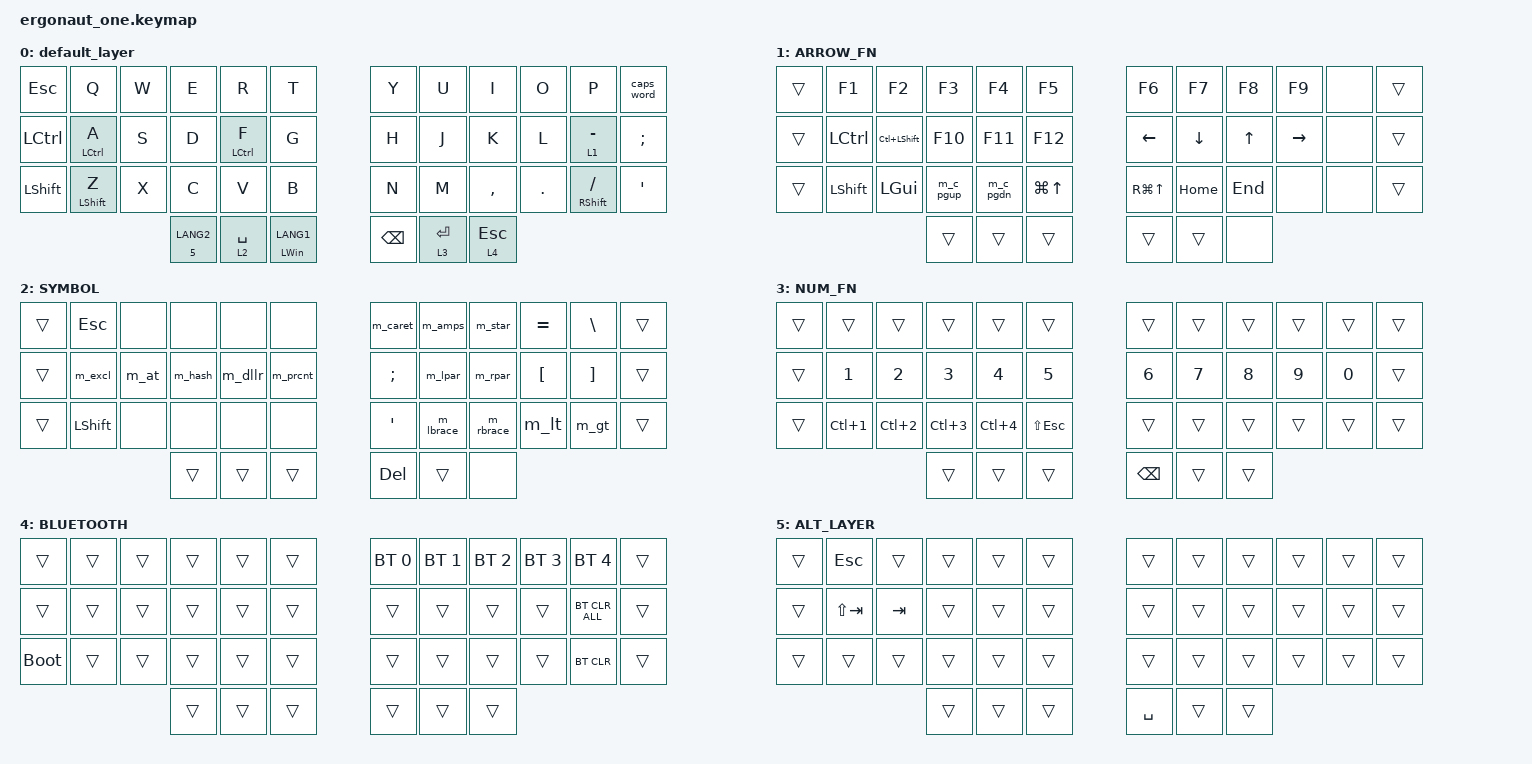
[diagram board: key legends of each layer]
/*
 * Ergonaut One キーマップ設定
 * - zmk-config-roBa からの移植版（トラックボール無し）
 * - roBa の 5 列レイアウトを内側 5 列に配置
 * - 一番外側の列: 左 = ESC / TAB / Win、右 = Caps Word / ; / '
 *   (` はコンボ U+I で出せるため、右上は Caps Word に割り当て)
 * - 最下段（サム）は roBa の外側 3 キー(LCTRL/LALT/LCMD)を除いた 3+3
 * - レイヤー番号は MOUSE/SCROLL を削除して詰めている
 *   0:default 1:ARROW_FN 2:SYMBOL 3:NUM_FN 4:BLUETOOTH 5:ALT_LAYER
 */

#include <behaviors.dtsi>
#include <dt-bindings/zmk/bt.h>
#include <dt-bindings/zmk/keys.h>

&mt {
    flavor = "balanced";
    quick-tap-ms = <0>;
    tapping-term-ms = <180>;
};

/ {
    combos {
        compatible = "zmk,combos";

        tab {
            bindings = <&kp TAB>;
            key-positions = <15 16>;
        };

        eq {
            bindings = <&kp EQUAL>;
            key-positions = <19 20>;
        };

        tilde {
            bindings = <&kp GRAVE>;
            key-positions = <7 8>;
        };

        bq {
            bindings = <&kp BACKSLASH>;
            key-positions = <31 32>;
        };

        layout_shift_on {
            bindings = <&tog_ls_on>;
            key-positions = <10 22>;
        };

        layout_shift_off {
            bindings = <&tog_ls_off>;
            key-positions = <22 34>;
        };

        shift {
            bindings = <&kp RIGHT_SHIFT>;
            key-positions = <27 28>;
        };

        boot {
            bindings = <&bootloader>;
            key-positions = <11 23>;
        };
    };

    macros {
        to_layer_0: to_layer_0 {
            compatible = "zmk,behavior-macro-one-param";
            #binding-cells = <1>;
            bindings = <&to 0 &macro_param_1to1 &kp MACRO_PLACEHOLDER>;
            label = "TO_LAYER_0";
        };

        // Shifted symbols for Remote Desktop compatibility

        m_excl: m_excl {
            compatible = "zmk,behavior-macro";
            #binding-cells = <0>;
            bindings =
                <&macro_press>,
                <&kp LSHFT>,
                <&macro_tap>,
                <&kp N1>,
                <&macro_release>,
                <&kp LSHFT>;
        };

        m_at: m_at {
            compatible = "zmk,behavior-macro";
            #binding-cells = <0>;
            bindings =
                <&macro_press>,
                <&kp LSHFT>,
                <&macro_tap>,
                <&kp N2>,
                <&macro_release>,
                <&kp LSHFT>;
        };

        m_hash: m_hash {
            compatible = "zmk,behavior-macro";
            #binding-cells = <0>;
            bindings =
                <&macro_press>,
                <&kp LSHFT>,
                <&macro_tap>,
                <&kp N3>,
                <&macro_release>,
                <&kp LSHFT>;
        };

        m_dllr: m_dllr {
            compatible = "zmk,behavior-macro";
            #binding-cells = <0>;
            bindings =
                <&macro_press>,
                <&kp LSHFT>,
                <&macro_tap>,
                <&kp N4>,
                <&macro_release>,
                <&kp LSHFT>;
        };

        m_prcnt: m_prcnt {
            compatible = "zmk,behavior-macro";
            #binding-cells = <0>;
            bindings =
                <&macro_press>,
                <&kp LSHFT>,
                <&macro_tap>,
                <&kp N5>,
                <&macro_release>,
                <&kp LSHFT>;
        };

        m_caret: m_caret {
            compatible = "zmk,behavior-macro";
            #binding-cells = <0>;
            bindings =
                <&macro_press>,
                <&kp LSHFT>,
                <&macro_tap>,
                <&kp N6>,
                <&macro_release>,
                <&kp LSHFT>;
        };

        m_amps: m_amps {
            compatible = "zmk,behavior-macro";
            #binding-cells = <0>;
            bindings =
                <&macro_press>,
                <&kp LSHFT>,
                <&macro_tap>,
                <&kp N7>,
                <&macro_release>,
                <&kp LSHFT>;
        };

        m_star: m_star {
            compatible = "zmk,behavior-macro";
            #binding-cells = <0>;
            bindings =
                <&macro_press>,
                <&kp LSHFT>,
                <&macro_tap>,
                <&kp N8>,
                <&macro_release>,
                <&kp LSHFT>;
        };

        m_lpar: m_lpar {
            compatible = "zmk,behavior-macro";
            #binding-cells = <0>;
            bindings =
                <&macro_press>,
                <&kp LSHFT>,
                <&macro_tap>,
                <&kp N9>,
                <&macro_release>,
                <&kp LSHFT>;
        };

        m_rpar: m_rpar {
            compatible = "zmk,behavior-macro";
            #binding-cells = <0>;
            bindings =
                <&macro_press>,
                <&kp LSHFT>,
                <&macro_tap>,
                <&kp N0>,
                <&macro_release>,
                <&kp LSHFT>;
        };

        m_lbrace: m_lbrace {
            compatible = "zmk,behavior-macro";
            #binding-cells = <0>;
            bindings =
                <&macro_press>,
                <&kp LSHFT>,
                <&macro_tap>,
                <&kp LBKT>,
                <&macro_release>,
                <&kp LSHFT>;
        };

        m_rbrace: m_rbrace {
            compatible = "zmk,behavior-macro";
            #binding-cells = <0>;
            bindings =
                <&macro_press>,
                <&kp LSHFT>,
                <&macro_tap>,
                <&kp RBKT>,
                <&macro_release>,
                <&kp LSHFT>;
        };

        m_dqt: m_dqt {
            compatible = "zmk,behavior-macro";
            #binding-cells = <0>;
            bindings =
                <&macro_press>,
                <&kp LSHFT>,
                <&macro_tap>,
                <&kp SQT>,
                <&macro_release>,
                <&kp LSHFT>;
        };

        m_colon: m_colon {
            compatible = "zmk,behavior-macro";
            #binding-cells = <0>;
            bindings =
                <&macro_press>,
                <&kp LSHFT>,
                <&macro_tap>,
                <&kp SEMICOLON>,
                <&macro_release>,
                <&kp LSHFT>;
        };

        m_lt: m_lt {
            compatible = "zmk,behavior-macro";
            #binding-cells = <0>;
            bindings =
                <&macro_press>,
                <&kp LSHFT>,
                <&macro_tap>,
                <&kp COMMA>,
                <&macro_release>,
                <&kp LSHFT>;
        };

        m_gt: m_gt {
            compatible = "zmk,behavior-macro";
            #binding-cells = <0>;
            bindings =
                <&macro_press>,
                <&kp LSHFT>,
                <&macro_tap>,
                <&kp PERIOD>,
                <&macro_release>,
                <&kp LSHFT>;
        };

        m_crlf: m_crlf {
            compatible = "zmk,behavior-macro";
            #binding-cells = <0>;
            bindings = <&macro_tap>, <&kp BACKSLASH &kp R &kp BACKSLASH &kp N>;
        };

        m_lf: m_lf {
            compatible = "zmk,behavior-macro";
            #binding-cells = <0>;
            bindings = <&macro_tap>, <&kp BACKSLASH &kp N>;
        };

        m_c_pgup: m_c_pgup {
            compatible = "zmk,behavior-macro";
            #binding-cells = <0>;
            wait-ms = <0>;
            tap-ms = <0>;
            bindings =
                <&macro_press>,
                <&kp LCTRL>,
                <&macro_tap>,
                <&kp PAGE_UP>,
                <&macro_release>,
                <&kp LCTRL>;
        };

        m_c_pgdn: m_c_pgdn {
            compatible = "zmk,behavior-macro";
            #binding-cells = <0>;
            wait-ms = <0>;
            tap-ms = <0>;
            bindings =
                <&macro_press>,
                <&kp LCTRL>,
                <&macro_tap>,
                <&kp PAGE_DOWN>,
                <&macro_release>,
                <&kp LCTRL>;
        };

        // Layer-mod: holds LALT + activates specified layer

        lm: lm {
            compatible = "zmk,behavior-macro-one-param";
            #binding-cells = <1>;
            wait-ms = <0>;
            tap-ms = <0>;
            bindings =
                <&macro_press>,
                <&kp LALT &macro_param_1to1>,
                <&macro_press>,
                <&mo MACRO_PLACEHOLDER>,
                <&macro_pause_for_release>,
                <&macro_param_1to1>,
                <&macro_release>,
                <&mo MACRO_PLACEHOLDER>,
                <&macro_release>,
                <&kp LALT>;
        };
    };

    behaviors {
        // Keep the original key_press behavior for ZMK core components

        original_key_press: original_key_press {
            compatible = "zmk,behavior-key-press";
            #binding-cells = <1>;
            label = "KEY_PRESS";
        };

        // Override &kp for layout shift (Keymap Editor compatible)

        kp: key_press {
            compatible = "zmk,behavior-layout-shift-key-press";
            #binding-cells = <1>;
            label = "LAYOUT_SHIFT_KEY_PRESS";
        };

        tog_ls: toggle_layout_shift {
            compatible = "zmk,behavior-layout-shift-toggle";
            #binding-cells = <0>;
            toggle-mode = "flip";
            label = "LAYOUT_SHIFT_TOGGLE";
        };

        tog_ls_on: toggle_layout_shift_on {
            compatible = "zmk,behavior-layout-shift-toggle";
            #binding-cells = <0>;
            toggle-mode = "on";
            label = "LAYOUT_SHIFT_TOGGLE_ON";
        };

        tog_ls_off: toggle_layout_shift_off {
            compatible = "zmk,behavior-layout-shift-toggle";
            #binding-cells = <0>;
            toggle-mode = "off";
            label = "LAYOUT_SHIFT_TOGGLE_OFF";
        };

        lt_to_layer_0: lt_to_layer_0 {
            compatible = "zmk,behavior-hold-tap";
            label = "LAYER_TAP_TO_0";
            bindings = <&mo>, <&to_layer_0>;

            #binding-cells = <2>;
            tapping-term-ms = <180>;
            flavor = "hold-preferred";
        };

        // Hold: ALT + layer, Tap: key

        alt_lt: alt_lt {
            compatible = "zmk,behavior-hold-tap";
            label = "ALT_LAYER_TAP";
            #binding-cells = <2>;
            tapping-term-ms = <180>;
            flavor = "balanced";
            bindings = <&lm>, <&kp>;
        };
    };

    keymap {
        compatible = "zmk,keymap";

        default_layer {
            // 一番外側の列: 左 = ESC / TAB / Win、右 = Caps Word / ; / '

            bindings = <
&kp ESC           &kp Q             &kp W  &kp E            &kp R               &kp T               &kp Y          &kp U        &kp I      &kp O    &kp P                  &caps_word
&kp LEFT_CONTROL  &mt LCTRL A       &kp S  &kp D            &mt LEFT_CONTROL F  &kp G               &kp H          &kp J        &kp K      &kp L    &lt 1 MINUS            &kp SEMICOLON
&kp LEFT_SHIFT    &mt LEFT_SHIFT Z  &kp X  &kp C            &kp V               &kp B               &kp N          &kp M        &kp COMMA  &kp DOT  &mt RIGHT_SHIFT SLASH  &kp SINGLE_QUOTE
                                           &alt_lt 5 LANG2  &lt 2 SPACE         &mt LEFT_WIN LANG1  &kp BACKSPACE  &lt 3 ENTER  &lt 4 ESC
            >;
        };

        ARROW_FN {
            bindings = <
&trans  &kp F1            &kp F2              &kp F3     &kp F4     &kp F5            &kp F6            &kp F7          &kp F8        &kp F9           &none  &trans
&trans  &kp LEFT_CONTROL  &kp LC(LEFT_SHIFT)  &kp F10    &kp F11    &kp F12           &kp LEFT_ARROW    &kp DOWN_ARROW  &kp UP_ARROW  &kp RIGHT_ARROW  &none  &trans
&trans  &kp LEFT_SHIFT    &kp LEFT_GUI        &m_c_pgup  &m_c_pgdn  &kp LG(UP_ARROW)  &kp RG(UP_ARROW)  &kp HOME        &kp END       &none            &none  &trans
                                              &trans     &trans     &trans            &trans            &trans          &none
            >;
        };

        SYMBOL {
            bindings = <
&trans  &kp ESC         &none  &none    &none    &none     &m_caret          &m_amps    &m_star    &kp EQUAL         &kp BACKSLASH      &trans
&trans  &m_excl         &m_at  &m_hash  &m_dllr  &m_prcnt  &kp SEMICOLON     &m_lpar    &m_rpar    &kp LEFT_BRACKET  &kp RIGHT_BRACKET  &trans
&trans  &kp LEFT_SHIFT  &none  &none    &none    &none     &kp SINGLE_QUOTE  &m_lbrace  &m_rbrace  &m_lt             &m_gt              &trans
                               &trans   &trans   &trans    &kp DEL           &trans     &none
            >;
        };

        NUM_FN {
            bindings = <
&trans  &trans            &trans            &trans            &trans            &trans          &trans         &trans  &trans  &trans  &trans  &trans
&trans  &kp N1            &kp N2            &kp N3            &kp N4            &kp N5          &kp N6         &kp N7  &kp N8  &kp N9  &kp N0  &trans
&trans  &kp LC(NUMBER_1)  &kp LC(NUMBER_2)  &kp LC(NUMBER_3)  &kp LC(NUMBER_4)  &kp LS(ESCAPE)  &trans         &trans  &trans  &trans  &trans  &trans
                                            &trans            &trans            &trans          &kp BACKSPACE  &trans  &trans
            >;
        };

        BLUETOOTH {
            bindings = <
&trans       &trans  &trans  &trans  &trans  &trans  &bt BT_SEL 0  &bt BT_SEL 1  &bt BT_SEL 2  &bt BT_SEL 3  &bt BT_SEL 4    &trans
&trans       &trans  &trans  &trans  &trans  &trans  &trans        &trans        &trans        &trans        &bt BT_CLR_ALL  &trans
&bootloader  &trans  &trans  &trans  &trans  &trans  &trans        &trans        &trans        &trans        &bt BT_CLR      &trans
                             &trans  &trans  &trans  &trans        &trans        &trans
            >;
        };

        ALT_LAYER {
            bindings = <
&trans  &kp ESC      &trans   &trans  &trans  &trans  &trans     &trans  &trans  &trans  &trans  &trans
&trans  &kp LS(TAB)  &kp TAB  &trans  &trans  &trans  &trans     &trans  &trans  &trans  &trans  &trans
&trans  &trans       &trans   &trans  &trans  &trans  &trans     &trans  &trans  &trans  &trans  &trans
                              &trans  &trans  &trans  &kp SPACE  &trans  &trans
            >;
        };
    };
};
